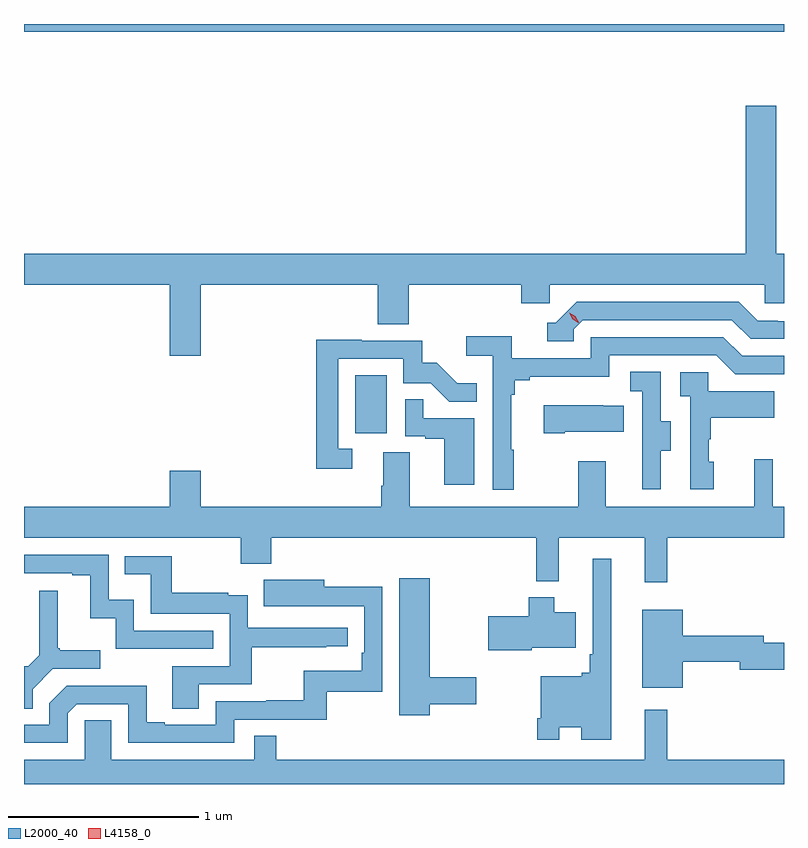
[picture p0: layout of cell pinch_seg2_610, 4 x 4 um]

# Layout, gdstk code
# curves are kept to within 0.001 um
import gdstk
lib = gdstk.Library(unit=1e-6, precision=1e-09)
def R(c, l, rs):  # rectangles x0, y0, x1, y1
    for r in rs: c.add(gdstk.rectangle(r[:2], r[2:], *l))
def P(c, l, *ps):  # polygons
    for p in ps: c.add(gdstk.Polygon(p, *l))
L2000_40 = (2000, 40)
L4158_0 = (4158, 0)

pinch_seg2_610 = lib.new_cell('pinch_seg2_610')
R(pinch_seg2_610, L2000_40, [(1041.11,617.55,1041.274,617.857), (1039.366,619.664,1043.366,619.705)])
P(pinch_seg2_610, L2000_40, [(1040.296,618.332),(1041.227,618.332),(1041.227,618.124),(1041.392,618.124),(1041.392,618.332),(1041.983,618.332),(1041.983,618.234),(1042.134,618.234),(1042.134,618.332),(1043.265,618.332),(1043.265,618.234),(1043.366,618.234),(1043.366,618.496),(1043.325,618.496),(1043.325,619.276),(1043.165,619.276),(1043.165,618.496),(1039.366,618.496),(1039.366,618.332),(1040.132,618.332),(1040.132,617.958),(1040.296,617.958)],
  [(1042.26,618.099),(1042.308,618.147),(1043.091,618.147),(1043.19,618.048),(1043.366,618.048),(1043.366,618.141),(1043.334,618.141),(1043.334,618.144),(1043.227,618.144),(1043.128,618.243),(1042.275,618.243),(1042.164,618.132),(1042.121,618.132),(1042.121,618.036),(1042.26,618.036)],
  [(1041.943,617.465),(1041.931,617.465),(1041.931,617.753),(1041.95,617.753),(1041.95,617.83),(1042.027,617.83),(1042.027,617.849),(1042.446,617.849),(1042.446,617.961),(1043.01,617.961),(1043.109,617.862),(1043.366,617.862),(1043.366,617.958),(1043.146,617.958),(1043.047,618.057),(1042.35,618.057),(1042.35,617.946),(1041.932,617.946),(1041.932,618.062),(1041.693,618.062),(1041.693,617.96),(1041.834,617.96),(1041.834,617.253),(1041.943,617.253)],
  [(1041.094,617.469),(1041.021,617.469),(1041.021,617.943),(1041.363,617.943),(1041.363,617.814),(1041.507,617.814),(1041.605,617.716),(1041.749,617.716),(1041.749,617.815),(1041.645,617.815),(1041.538,617.922),(1041.462,617.922),(1041.462,618.039),(1041.143,618.039),(1041.143,618.044),(1040.905,618.044),(1040.905,617.364),(1041.094,617.364)],
  [(1042.717,617.458),(1042.771,617.458),(1042.771,617.613),(1042.716,617.613),(1042.716,617.876),(1042.557,617.876),(1042.557,617.773),(1042.62,617.773),(1042.62,617.469),(1042.619,617.469),(1042.619,617.256),(1042.717,617.256)],
  [(1042.996,617.4),(1042.971,617.4),(1042.971,617.519),(1042.981,617.519),(1042.981,617.633),(1043.315,617.633),(1043.315,617.773),(1042.968,617.773),(1042.968,617.871),(1042.821,617.871),(1042.821,617.747),(1042.872,617.747),(1042.872,617.256),(1042.996,617.256)],
  [(1041.736,617.631),(1041.467,617.631),(1041.467,617.729),(1041.372,617.729),(1041.372,617.535),(1041.478,617.535),(1041.478,617.523),(1041.578,617.523),(1041.578,617.28),(1041.736,617.28)],
  [(1042.213,617.558),(1042.523,617.558),(1042.523,617.695),(1042.415,617.695),(1042.415,617.698),(1042.101,617.698),(1042.101,617.551),(1042.213,617.551)],
  [(1042.751,617),(1043.366,617),(1043.366,617.164),(1043.307,617.164),(1043.307,617.413),(1043.21,617.413),(1043.21,617.164),(1042.429,617.164),(1042.429,617.404),(1042.282,617.404),(1042.282,617.164),(1041.397,617.164),(1041.397,617.45),(1041.257,617.45),(1041.257,617.276),(1041.245,617.276),(1041.245,617.164),(1040.296,617.164),(1040.296,617.353),(1040.132,617.353),(1040.132,617.164),(1039.366,617.164),(1039.366,617),(1040.506,617),(1040.506,616.865),(1040.666,616.865),(1040.666,617),(1042.063,617),(1042.063,616.772),(1042.18,616.772),(1042.18,617),(1042.634,617),(1042.634,616.767),(1042.751,616.767)],
  [(1040.363,616.512),(1039.944,616.512),(1039.944,616.675),(1039.812,616.675),(1039.812,616.911),(1039.366,616.911),(1039.366,616.815),(1039.619,616.815),(1039.619,616.803),(1039.715,616.803),(1039.715,616.577),(1039.848,616.577),(1039.848,616.416),(1040.363,616.416)],
  [(1040.287,616.23),(1040.564,616.23),(1040.564,616.426),(1040.957,616.426),(1040.957,616.431),(1041.07,616.431),(1041.07,616.527),(1040.544,616.527),(1040.544,616.699),(1040.441,616.699),(1040.441,616.711),(1040.143,616.711),(1040.143,616.905),(1039.897,616.905),(1039.897,616.808),(1040.032,616.808),(1040.032,616.602),(1040.448,616.602),(1040.448,616.326),(1040.147,616.326),(1040.147,616.102),(1040.287,616.102)],
  [(1042.182,616.004),(1042.298,616.004),(1042.298,615.939),(1042.456,615.939),(1042.456,616.891),(1042.359,616.891),(1042.359,616.387),(1042.343,616.387),(1042.343,616.291),(1042.302,616.291),(1042.302,616.273),(1042.086,616.273),(1042.086,616.051),(1042.066,616.051),(1042.066,615.939),(1042.182,615.939)],
  [(1041.502,616.126),(1041.745,616.126),(1041.745,616.268),(1041.502,616.268),(1041.502,616.789),(1041.341,616.789),(1041.341,616.068),(1041.502,616.068)],
  [(1039.596,616.077),(1039.644,616.125),(1039.914,616.125),(1039.914,615.921),(1040.472,615.921),(1040.472,616.044),(1040.959,616.044),(1040.959,616.191),(1041.252,616.191),(1041.252,616.742),(1040.947,616.742),(1040.947,616.78),(1040.629,616.78),(1040.629,616.64),(1041.156,616.641),(1041.156,616.396),(1041.143,616.396),(1041.143,616.3),(1040.838,616.3),(1040.838,616.145),(1040.641,616.145),(1040.641,616.14),(1040.376,616.14),(1040.376,616.017),(1040.107,616.017),(1040.107,616.03),(1040.011,616.03),(1040.011,616.223),(1039.806,616.223),(1039.806,616.221),(1039.59,616.221),(1039.5,616.131),(1039.5,616.017),(1039.366,616.017),(1039.366,615.921),(1039.596,615.921)],
  [(1039.411,616.204),(1039.518,616.311),(1039.768,616.311),(1039.768,616.408),(1039.555,616.408),(1039.555,616.42),(1039.543,616.42),(1039.543,616.723),(1039.446,616.723),(1039.446,616.383),(1039.389,616.326),(1039.366,616.326),(1039.366,616.102),(1039.411,616.102)],
  [(1042.038,616.422),(1042.269,616.422),(1042.269,616.609),(1042.156,616.609),(1042.156,616.687),(1042.022,616.687),(1042.022,616.587),(1041.81,616.587),(1041.81,616.409),(1042.038,616.409)],
  [(1042.834,616.348),(1043.132,616.348),(1043.132,616.306),(1043.366,616.306),(1043.366,616.448),(1043.26,616.448),(1043.26,616.484),(1042.834,616.484),(1042.834,616.621),(1042.619,616.621),(1042.619,616.211),(1042.834,616.211)],
  [(1043.366,615.832),(1042.751,615.832),(1042.751,616.096),(1042.634,616.096),(1042.634,615.832),(1040.693,615.832),(1040.693,615.959),(1040.577,615.959),(1040.577,615.832),(1039.825,615.832),(1039.825,616.04),(1039.686,616.04),(1039.686,615.832),(1039.366,615.832),(1039.366,615.705),(1043.366,615.705)])
P(pinch_seg2_610, L4158_0, [(1042.284,618.133),(1042.253,618.152),(1042.236,618.185),(1042.236,618.185),(1042.237,618.185),(1042.268,618.166),(1042.285,618.134),(1042.285,618.133)])

lib.write_gds('pinch_seg2_610.gds')
